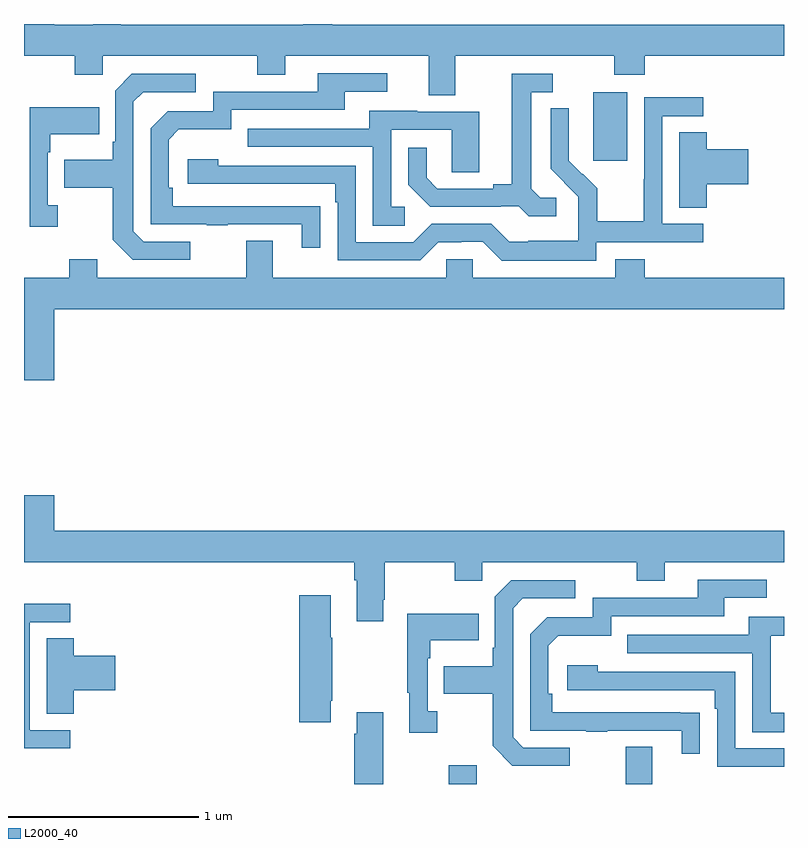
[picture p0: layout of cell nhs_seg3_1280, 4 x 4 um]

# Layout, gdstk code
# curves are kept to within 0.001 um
import gdstk
lib = gdstk.Library(unit=1e-6, precision=1e-09)
def R(c, l, rs):  # rectangles x0, y0, x1, y1
    for r in rs: c.add(gdstk.rectangle(r[:2], r[2:], *l))
def P(c, l, *ps):  # polygons
    for p in ps: c.add(gdstk.Polygon(p, *l))
L2000_40 = (2000, 40)

nhs_seg3_1280 = lib.new_cell('nhs_seg3_1280')
R(nhs_seg3_1280, L2000_40, [(179.236,714.4,179.383,714.499), (180.167,714.4,180.307,714.595), (179.996,717.681,180.175,718.042)])
P(nhs_seg3_1280, L2000_40, [(179.269,718.232),(180.106,718.232),(180.106,718.133),(180.266,718.133),(180.266,718.232),(181,718.232),(181,718.396),(178.622,718.396),(178.622,718.4),(178.469,718.4),(178.469,718.396),(177.509,718.396),(177.509,718.4),(177.365,718.4),(177.365,718.396),(177.16,718.396),(177.16,718.4),(177,718.4),(177,718.232),(177.268,718.232),(177.268,718.133),(177.414,718.133),(177.414,718.232),(178.228,718.232),(178.228,718.133),(178.375,718.133),(178.375,718.232),(179.129,718.232),(179.129,718.024),(179.269,718.024)],
  [(178.559,717.44),(177.782,717.441),(177.782,717.538),(177.762,717.538),(177.762,717.792),(177.815,717.845),(178.092,717.845),(178.092,717.948),(178.687,717.948),(178.687,718.044),(178.912,718.044),(178.912,718.14),(178.547,718.14),(178.547,718.044),(177.996,718.044),(177.996,717.942),(177.756,717.942),(177.666,717.852),(177.666,717.345),(177.961,717.345),(177.961,717.34),(178.073,717.34),(178.073,717.345),(178.463,717.345),(178.463,717.222),(178.559,717.222)],
  [(177.874,717.255),(177.63,717.255),(177.576,717.309),(177.576,717.99),(177.627,718.041),(177.904,718.041),(177.904,718.137),(177.567,718.137),(177.48,718.05),(177.48,717.781),(177.468,717.781),(177.468,717.685),(177.211,717.685),(177.211,717.538),(177.468,717.538),(177.468,717.265),(177.573,717.159),(177.874,717.159)],
  [(179.8,717.486),(179.718,717.486),(179.671,717.533),(179.671,718.041),(179.782,718.041),(179.782,718.137),(179.567,718.137),(179.567,717.557),(179.471,717.557),(179.471,717.534),(179.176,717.534),(179.119,717.591),(179.119,717.748),(179.022,717.748),(179.022,717.554),(179.138,717.438),(179.51,717.438),(179.51,717.441),(179.604,717.441),(179.656,717.389),(179.8,717.389)],
  [(180.012,717.252),(180.574,717.252),(180.574,717.348),(180.36,717.348),(180.36,717.915),(180.574,717.915),(180.574,718.014),(180.264,718.014),(180.264,717.584),(180.262,717.584),(180.262,717.361),(180.017,717.361),(180.017,717.535),(179.94,717.612),(179.937,717.609),(179.867,717.68),(179.868,717.956),(179.772,717.956),(179.772,717.638),(179.918,717.49),(179.918,717.393),(179.916,717.393),(179.916,717.259),(179.653,717.259),(179.653,717.255),(179.553,717.255),(179.46,717.348),(179.145,717.348),(179.049,717.252),(178.746,717.252),(178.746,717.654),(178.022,717.654),(178.022,717.688),(177.861,717.688),(177.861,717.558),(178.637,717.558),(178.637,717.461),(178.65,717.461),(178.65,717.156),(179.085,717.156),(179.181,717.252),(179.3,717.252),(179.3,717.255),(179.415,717.255),(179.515,717.155),(180.012,717.155)],
  [(177.178,717.446),(177.126,717.446),(177.126,717.725),(177.139,717.725),(177.139,717.821),(177.395,717.821),(177.395,717.961),(177.029,717.961),(177.029,717.333),(177.178,717.333)],
  [(179.005,717.438),(178.932,717.438),(178.932,717.843),(179.25,717.843),(179.25,717.619),(179.395,717.619),(179.395,717.939),(179.071,717.939),(179.071,717.943),(178.817,717.943),(178.817,717.849),(178.177,717.849),(178.177,717.753),(178.836,717.753),(178.836,717.337),(179.005,717.337)],
  [(180.593,717.557),(180.811,717.557),(180.811,717.74),(180.593,717.74),(180.593,717.83),(180.449,717.83),(180.449,717.433),(180.593,717.433)],
  [(177,716.526),(177.16,716.526),(177.16,716.9),(181,716.9),(181,717.064),(180.266,717.064),(180.266,717.163),(180.113,717.163),(180.113,717.064),(179.361,717.064),(179.361,717.162),(179.223,717.162),(179.223,717.064),(178.309,717.064),(178.309,717.259),(178.169,717.259),(178.169,717.064),(177.385,717.064),(177.385,717.163),(177.238,717.163),(177.238,717.064),(177,717.064)],
  [(178.891,715.369),(178.899,715.369),(178.899,715.568),(179.266,715.568),(179.266,715.469),(179.412,715.469),(179.412,715.568),(180.226,715.568),(180.226,715.469),(180.373,715.469),(180.373,715.568),(181,715.568),(181,715.732),(177.16,715.732),(177.16,715.921),(177,715.921),(177,715.568),(178.739,715.568),(178.739,715.472),(178.751,715.472),(178.751,715.257),(178.891,715.257)],
  [(180.557,714.776),(179.78,714.777),(179.78,714.874),(179.76,714.874),(179.76,715.128),(179.813,715.181),(180.09,715.181),(180.09,715.284),(180.685,715.284),(180.685,715.38),(180.91,715.38),(180.91,715.476),(180.545,715.476),(180.545,715.38),(179.994,715.38),(179.994,715.278),(179.754,715.278),(179.664,715.188),(179.664,714.681),(179.959,714.681),(179.959,714.676),(180.071,714.676),(180.071,714.681),(180.461,714.681),(180.461,714.558),(180.557,714.558)],
  [(179.872,714.591),(179.628,714.591),(179.574,714.645),(179.574,715.326),(179.625,715.377),(179.902,715.377),(179.902,715.473),(179.565,715.473),(179.478,715.386),(179.478,715.117),(179.466,715.117),(179.466,715.021),(179.209,715.021),(179.209,714.874),(179.466,714.874),(179.466,714.601),(179.571,714.495),(179.872,714.495)],
  [(178.615,714.838),(178.623,714.838),(178.623,715.169),(178.615,715.169),(178.615,715.393),(178.448,715.393),(178.448,714.726),(178.615,714.726)],
  [(177.244,714.684),(177.03,714.684),(177.03,715.251),(177.244,715.251),(177.244,715.35),(177,715.35),(177,714.588),(177.244,714.588)],
  [(179.176,714.782),(179.124,714.782),(179.124,715.061),(179.137,715.061),(179.137,715.157),(179.393,715.157),(179.393,715.297),(179.016,715.297),(179.016,714.881),(179.027,714.881),(179.027,714.669),(179.176,714.669)],
  [(181,714.774),(180.93,714.774),(180.93,715.179),(181,715.179),(181,715.279),(180.815,715.279),(180.815,715.185),(180.175,715.185),(180.175,715.089),(180.834,715.089),(180.834,714.673),(181,714.673)],
  [(177.263,714.893),(177.481,714.893),(177.481,715.076),(177.263,715.076),(177.263,715.166),(177.119,715.166),(177.119,714.769),(177.263,714.769)],
  [(181,714.588),(180.744,714.588),(180.744,714.99),(180.02,714.99),(180.02,715.024),(179.859,715.024),(179.859,714.894),(180.635,714.894),(180.635,714.797),(180.648,714.797),(180.648,714.492),(181,714.492)],
  [(178.751,714.778),(178.751,714.665),(178.739,714.665),(178.739,714.4),(178.891,714.4),(178.891,714.778)])

lib.write_gds('nhs_seg3_1280.gds')
